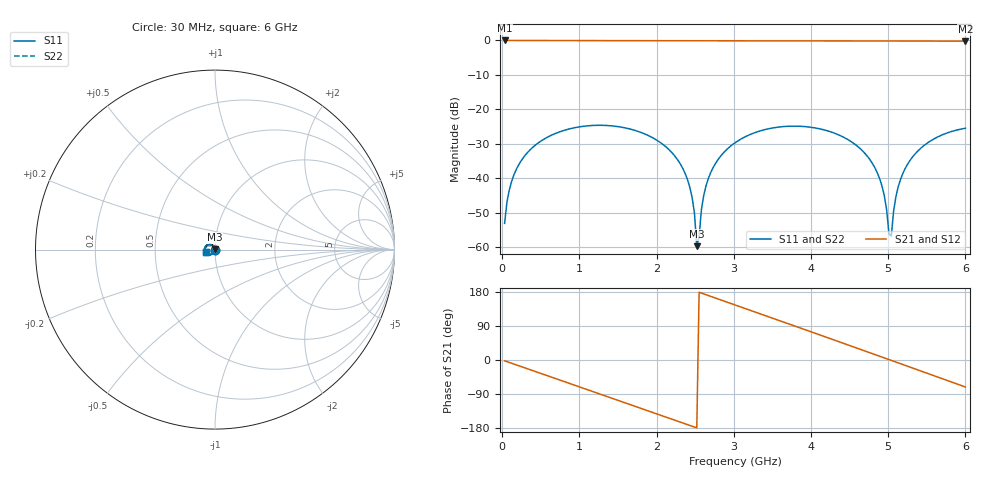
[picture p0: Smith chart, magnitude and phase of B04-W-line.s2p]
! yapnr Order 0 O0-W: O0-W B04 W dL34 (line, family W)
! stackup OSHPARK-4L-EM528, nominal parameters; geometry of the OSHPARK-4L-FR408HR design
! model: 2D quasi-static RLGC (Djordjevic-Sarkar, Huray roughness, Wheeler loss); generated by python -m yapnr.rf.coupons expected --stackup OSHPARK-4L-FR408HR --upload W
! reference planes 10 mm from each end; 50 ohm (from the W line's Zc)
# GHz S DB R 50
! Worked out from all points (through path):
!   200 points, 30 MHz to 6 GHz, reference 50 ohm
!   highest |S21| = 0.00 dB at 30 MHz (marker M1); lowest = -0.2 dB at 6 GHz (marker M2)
!   group delay of S21, straight-line fit = 200 ps
!   lowest |S11| = -59.7 dB at 2.52 GHz (marker M3), VSWR 1.00, Z = 49.9 + j0.0867 ohm
!   |S11| at or under -10 dB: start of sweep to end of sweep
!   |S22| runs from -59.7 to -24.6 dB; largest |S21 - S12| = 0
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0.03  -53.10 -88.4  -0.00 -2.1  -0.00 -2.1  -53.10 -88.4
0.12  -40.98 -97.8  -0.01 -8.6  -0.01 -8.6  -40.98 -97.8
0.3  -33.24 -111.6  -0.02 -21.3  -0.02 -21.3  -33.24 -111.6
1.05  -24.92 -165.4  -0.05 -74.5  -0.05 -74.5  -24.92 -165.4
1.53  -25.13 160.5  -0.07 -108.5  -0.07 -108.5  -25.13 160.5
2.04  -29.51 124.7  -0.07 -144.8  -0.07 -144.8  -29.51 124.7
2.4  -40.44 101.4  -0.08 -170.6  -0.08 -170.6  -40.44 101.4
2.49  -50.23 102.2  -0.08 -177.0  -0.08 -177.0  -50.23 102.2
2.52  -59.73 122.7  -0.08 -179.1  -0.08 -179.1  -59.73 122.7
2.61  -44.96 -102.8  -0.09 174.4  -0.09 174.4  -44.96 -102.8
2.67  -40.07 -104.6  -0.09 170.1  -0.09 170.1  -40.07 -104.6
3.03  -29.49 -128.0  -0.11 144.3  -0.11 144.3  -29.49 -128.0
3.54  -25.27 -164.0  -0.13 107.6  -0.13 107.6  -25.27 -164.0
4.02  -25.28 161.9  -0.14 73.0  -0.14 73.0  -25.28 161.9
4.77  -34.83 110.2  -0.15 18.7  -0.15 18.7  -34.83 110.2
4.92  -42.30 103.8  -0.16 7.7  -0.16 7.7  -42.30 103.8
5.01  -56.20 131.7  -0.16 1.2  -0.16 1.2  -56.20 131.7
5.04  -56.77 -138.5  -0.16 -1.0  -0.16 -1.0  -56.77 -138.5
5.07  -49.54 -113.0  -0.16 -3.2  -0.16 -3.2  -49.54 -113.0
5.13  -42.46 -107.1  -0.16 -7.6  -0.16 -7.6  -42.46 -107.1
5.28  -34.91 -113.3  -0.17 -18.6  -0.17 -18.6  -34.91 -113.3
6  -25.49 -163.2  -0.20 -71.2  -0.20 -71.2  -25.49 -163.2
